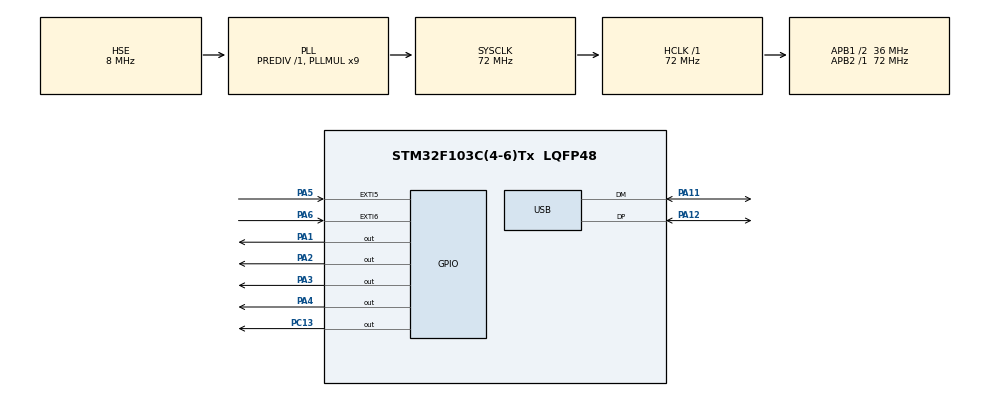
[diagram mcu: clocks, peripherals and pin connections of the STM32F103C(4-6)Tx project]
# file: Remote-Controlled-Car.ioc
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Mcu.Family=STM32F1
Mcu.Name=STM32F103C(4-6)Tx
Mcu.Package=LQFP48
NVIC.EXTI9_5_IRQn=true\:0\:0\:false\:false\:true\:true\:true\:true
NVIC.PriorityGroup=NVIC_PRIORITYGROUP_4
NVIC.USB_LP_CAN1_RX0_IRQn=true\:0\:0\:false\:false\:true\:false\:true\:true
PA1.Signal=GPIO_Output
PA11.Mode=Device
PA11.Signal=USB_DM
PA12.Mode=Device
PA12.Signal=USB_DP
PA13.Mode=Serial_Wire
PA13.Signal=SYS_JTMS-SWDIO
PA14.Mode=Serial_Wire
PA14.Signal=SYS_JTCK-SWCLK
PA2.Signal=GPIO_Output
PA3.Signal=GPIO_Output
PA4.Signal=GPIO_Output
PA5.GPIO_ModeDefaultEXTI=GPIO_MODE_IT_FALLING
PA5.Signal=GPXTI5
PA6.GPIO_ModeDefaultEXTI=GPIO_MODE_IT_RISING
PA6.Signal=GPXTI6
PC13-TAMPER-RTC.Signal=GPIO_Output
PD0-OSC_IN.Mode=HSE-External-Oscillator
PD0-OSC_IN.Signal=RCC_OSC_IN
PD1-OSC_OUT.Mode=HSE-External-Oscillator
PD1-OSC_OUT.Signal=RCC_OSC_OUT
ProjectManager.HeapSize=0x200
ProjectManager.StackSize=0x400
ProjectManager.TargetToolchain=STM32CubeIDE
RCC.AHBFreq_Value=72000000
RCC.APB1CLKDivider=RCC_HCLK_DIV2
RCC.APB1Freq_Value=36000000
RCC.APB1TimFreq_Value=72000000
RCC.APB2Freq_Value=72000000
RCC.APB2TimFreq_Value=72000000
RCC.HCLKFreq_Value=72000000
RCC.PLLMUL=RCC_PLL_MUL9
RCC.SYSCLKFreq_VALUE=72000000
RCC.SYSCLKSource=RCC_SYSCLKSOURCE_PLLCLK
RCC.USBFreq_Value=48000000
RCC.USBPrescaler=RCC_USBCLKSOURCE_PLL_DIV1_5
TIM2.AutoReloadPreload=TIM_AUTORELOAD_PRELOAD_ENABLE
TIM2.Prescaler=71
USB_DEVICE.CLASS_NAME_FS=CDC
USB_DEVICE.VirtualMode=Cdc
USB_DEVICE.VirtualModeFS=Cdc_FS
VP_TIM2_VS_ClockSourceINT.Mode=Internal
VP_USB_DEVICE_VS_USB_DEVICE_CDC_FS.Mode=CDC_FS
board=custom

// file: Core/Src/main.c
/* USER CODE BEGIN Header */
/**
  ******************************************************************************
  * @file           : main.c
  * @brief          : Main program body
  ******************************************************************************
  * @attention
  *
  * Copyright (c) 2025 STMicroelectronics.
  * All rights reserved.
  *
  * This software is licensed under terms that can be found in the LICENSE file
  * in the root directory of this software component.
  * If no LICENSE file comes with this software, it is provided AS-IS.
  *
  ******************************************************************************
  */
/* USER CODE END Header */
#include "main.h"
#include "usb_device.h"

TIM_HandleTypeDef htim2;

/* USER CODE BEGIN PV */
bool programming = false;
volatile uint32_t signal_timings[100];
volatile uint8_t ir_index = 0;
uint8_t prog_counter = 0 ;
uint32_t controlled_signals[8] = {0};
Motor_Config motor = {.port = GPIOA ,.IN1 = GPIO_PIN_1,.IN2 = GPIO_PIN_2 ,.IN3 = GPIO_PIN_3,.IN4 = GPIO_PIN_4};
/* USER CODE END PV */

void SystemClock_Config(void);
static void MX_GPIO_Init(void);
static void MX_TIM2_Init(void);
/* USER CODE BEGIN PFP */
void HAL_GPIO_EXTI_Callback(uint16_t GPIO_Pin){
	if(GPIO_Pin == GPIO_PIN_5){
		signal_timings[ir_index++] = __HAL_TIM_GET_COUNTER(&htim2);
		__HAL_TIM_SET_COUNTER(&htim2, 0);
	}
	else if (GPIO_Pin == GPIO_PIN_6){
		HAL_GPIO_WritePin(GPIOC, GPIO_PIN_13, 0);
		programming = true;
	}
}
/* USER CODE END PFP */

int main(void)
{

  /* MCU Configuration--------------------------------------------------------*/

  /* Reset of all peripherals, Initializes the Flash interface and the Systick. */
  HAL_Init();

  /* Configure the system clock */
  SystemClock_Config();

  /* Initialize all configured peripherals */
  MX_GPIO_Init();
  MX_TIM2_Init();
  MX_USB_DEVICE_Init();
  /* USER CODE BEGIN 2 */
  HAL_TIM_Base_Start(&htim2);
  HAL_GPIO_WritePin(GPIOC, GPIO_PIN_13, 1);
  /* USER CODE END 2 */
  uint32_t sig = 0 ;
  /* Infinite loop */
  while (1)
  {

	  if(ir_index >= 34){
		  sig = process_ir_signal(signal_timings,&ir_index);
	  }

	  if (sig != 0){
		  if (programming){
			  controlled_signals[prog_counter++] = sig;
			  HAL_GPIO_WritePin(GPIOC, GPIO_PIN_13, 1);
			  HAL_Delay(100);
			  HAL_GPIO_WritePin(GPIOC, GPIO_PIN_13, 0);
			  if (prog_counter == 7){
				  programming = false ;
				  HAL_GPIO_WritePin(GPIOC, GPIO_PIN_13, 1);
			  }
		  }
		  else{
			  if (sig == controlled_signals[0]){
				  move_forward(&motor);
				  HAL_GPIO_WritePin(GPIOC, GPIO_PIN_13, 0);
				  HAL_Delay(100);
				  HAL_GPIO_WritePin(GPIOC, GPIO_PIN_13, 1);
			  }
			  else if (sig == controlled_signals[1]){
				  move_backward(&motor);
				  HAL_GPIO_WritePin(GPIOC, GPIO_PIN_13, 0);
				  HAL_Delay(100);
				  HAL_GPIO_WritePin(GPIOC, GPIO_PIN_13, 1);
			  }
			  else if (sig == controlled_signals[2]){
				  turn_right(&motor);
				  HAL_GPIO_WritePin(GPIOC, GPIO_PIN_13, 0);
				  HAL_Delay(100);
				  HAL_GPIO_WritePin(GPIOC, GPIO_PIN_13, 1);
			  }
			  else if (sig == controlled_signals[3]){
				  turn_left(&motor);
				  HAL_GPIO_WritePin(GPIOC, GPIO_PIN_13, 0);
				  HAL_Delay(100);
				  HAL_GPIO_WritePin(GPIOC, GPIO_PIN_13, 1);
			  }
			  else if (sig == controlled_signals[4]){
				  turn_40_degree_right(&motor);
				  HAL_GPIO_WritePin(GPIOC, GPIO_PIN_13, 0);
				  HAL_Delay(100);
				  HAL_GPIO_WritePin(GPIOC, GPIO_PIN_13, 1);
			  }
			  else if (sig == controlled_signals[5]){
				  turn_40_degree_left(&motor);
				  HAL_GPIO_WritePin(GPIOC, GPIO_PIN_13, 0);
				  HAL_Delay(100);
				  HAL_GPIO_WritePin(GPIOC, GPIO_PIN_13, 1);
			  }
			  else if (sig == controlled_signals[6]){
				  stop_moving(&motor);
				  HAL_GPIO_WritePin(GPIOC, GPIO_PIN_13, 0);
				  HAL_Delay(100);
				  HAL_GPIO_WritePin(GPIOC, GPIO_PIN_13, 1);
			  }
		  }
	  }
	  sig = 0 ;

  }
}

void SystemClock_Config(void)
{
  RCC_OscInitTypeDef RCC_OscInitStruct = {0};
  RCC_ClkInitTypeDef RCC_ClkInitStruct = {0};
  RCC_PeriphCLKInitTypeDef PeriphClkInit = {0};

  /** Initializes the RCC Oscillators according to the specified parameters
  * in the RCC_OscInitTypeDef structure.
  */
  RCC_OscInitStruct.OscillatorType = RCC_OSCILLATORTYPE_HSE;
  RCC_OscInitStruct.HSEState = RCC_HSE_ON;
  RCC_OscInitStruct.HSEPredivValue = RCC_HSE_PREDIV_DIV1;
  RCC_OscInitStruct.HSIState = RCC_HSI_ON;
  RCC_OscInitStruct.PLL.PLLState = RCC_PLL_ON;
  RCC_OscInitStruct.PLL.PLLSource = RCC_PLLSOURCE_HSE;
  RCC_OscInitStruct.PLL.PLLMUL = RCC_PLL_MUL9;
  if (HAL_RCC_OscConfig(&RCC_OscInitStruct) != HAL_OK)
  {
    Error_Handler();
  }

  /** Initializes the CPU, AHB and APB buses clocks
  */
  RCC_ClkInitStruct.ClockType = RCC_CLOCKTYPE_HCLK|RCC_CLOCKTYPE_SYSCLK
                              |RCC_CLOCKTYPE_PCLK1|RCC_CLOCKTYPE_PCLK2;
  RCC_ClkInitStruct.SYSCLKSource = RCC_SYSCLKSOURCE_PLLCLK;
  RCC_ClkInitStruct.AHBCLKDivider = RCC_SYSCLK_DIV1;
  RCC_ClkInitStruct.APB1CLKDivider = RCC_HCLK_DIV2;
  RCC_ClkInitStruct.APB2CLKDivider = RCC_HCLK_DIV1;

  if (HAL_RCC_ClockConfig(&RCC_ClkInitStruct, FLASH_LATENCY_2) != HAL_OK)
  {
    Error_Handler();
  }
  PeriphClkInit.PeriphClockSelection = RCC_PERIPHCLK_USB;
  PeriphClkInit.UsbClockSelection = RCC_USBCLKSOURCE_PLL_DIV1_5;
  if (HAL_RCCEx_PeriphCLKConfig(&PeriphClkInit) != HAL_OK)
  {
    Error_Handler();
  }
}

static void MX_TIM2_Init(void)
{

  TIM_ClockConfigTypeDef sClockSourceConfig = {0};
  TIM_MasterConfigTypeDef sMasterConfig = {0};

  htim2.Instance = TIM2;
  htim2.Init.Prescaler = 71;
  htim2.Init.CounterMode = TIM_COUNTERMODE_UP;
  htim2.Init.Period = 65535;
  htim2.Init.ClockDivision = TIM_CLOCKDIVISION_DIV1;
  htim2.Init.AutoReloadPreload = TIM_AUTORELOAD_PRELOAD_ENABLE;
  if (HAL_TIM_Base_Init(&htim2) != HAL_OK)
  {
    Error_Handler();
  }
  sClockSourceConfig.ClockSource = TIM_CLOCKSOURCE_INTERNAL;
  if (HAL_TIM_ConfigClockSource(&htim2, &sClockSourceConfig) != HAL_OK)
  {
    Error_Handler();
  }
  sMasterConfig.MasterOutputTrigger = TIM_TRGO_RESET;
  sMasterConfig.MasterSlaveMode = TIM_MASTERSLAVEMODE_DISABLE;
  if (HAL_TIMEx_MasterConfigSynchronization(&htim2, &sMasterConfig) != HAL_OK)
  {
    Error_Handler();
  }

}

static void MX_GPIO_Init(void)
{
  GPIO_InitTypeDef GPIO_InitStruct = {0};

  /* GPIO Ports Clock Enable */
  __HAL_RCC_GPIOC_CLK_ENABLE();
  __HAL_RCC_GPIOD_CLK_ENABLE();
  __HAL_RCC_GPIOA_CLK_ENABLE();

  /*Configure GPIO pin Output Level */
  HAL_GPIO_WritePin(GPIOC, GPIO_PIN_13, GPIO_PIN_RESET);

  /*Configure GPIO pin Output Level */
  HAL_GPIO_WritePin(GPIOA, GPIO_PIN_1|GPIO_PIN_2|GPIO_PIN_3|GPIO_PIN_4, GPIO_PIN_RESET);

  /*Configure GPIO pin : PC13 */
  GPIO_InitStruct.Pin = GPIO_PIN_13;
  GPIO_InitStruct.Mode = GPIO_MODE_OUTPUT_PP;
  GPIO_InitStruct.Pull = GPIO_NOPULL;
  GPIO_InitStruct.Speed = GPIO_SPEED_FREQ_LOW;
  HAL_GPIO_Init(GPIOC, &GPIO_InitStruct);

  /*Configure GPIO pins : PA1 PA2 PA3 PA4 */
  GPIO_InitStruct.Pin = GPIO_PIN_1|GPIO_PIN_2|GPIO_PIN_3|GPIO_PIN_4;
  GPIO_InitStruct.Mode = GPIO_MODE_OUTPUT_PP;
  GPIO_InitStruct.Pull = GPIO_NOPULL;
  GPIO_InitStruct.Speed = GPIO_SPEED_FREQ_LOW;
  HAL_GPIO_Init(GPIOA, &GPIO_InitStruct);

  /*Configure GPIO pin : PA5 */
  GPIO_InitStruct.Pin = GPIO_PIN_5;
  GPIO_InitStruct.Mode = GPIO_MODE_IT_FALLING;
  GPIO_InitStruct.Pull = GPIO_NOPULL;
  HAL_GPIO_Init(GPIOA, &GPIO_InitStruct);

  /*Configure GPIO pin : PA6 */
  GPIO_InitStruct.Pin = GPIO_PIN_6;
  GPIO_InitStruct.Mode = GPIO_MODE_IT_RISING;
  GPIO_InitStruct.Pull = GPIO_NOPULL;
  HAL_GPIO_Init(GPIOA, &GPIO_InitStruct);

  /* EXTI interrupt init*/
  HAL_NVIC_SetPriority(EXTI9_5_IRQn, 0, 0);
  HAL_NVIC_EnableIRQ(EXTI9_5_IRQn);

}

void Error_Handler(void)
{
  __disable_irq();
  while (1)
  {
  }
}
